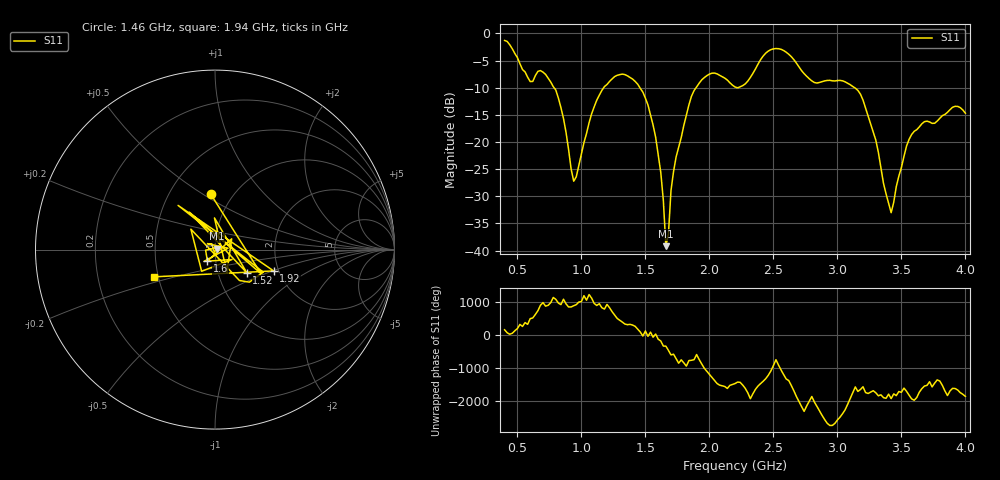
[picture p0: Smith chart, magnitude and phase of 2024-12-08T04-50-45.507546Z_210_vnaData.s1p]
!Created with skrf (http://scikit-rf.org).
# Hz S RI R 50.0
!freq ReS11 ImS11
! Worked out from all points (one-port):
!   181 points, 400 MHz to 4 GHz, reference 50 ohm
!   lowest |S11| = -39.2 dB at 1.66 GHz (marker M1), VSWR 1.02, Z = 51 + j0.484 ohm
!   |S11| at or under -10 dB: 786.1 MHz to 1.174 GHz (388.3 MHz wide, 39.6 % of centre); 1.457 GHz to 1.896 GHz (439.8 MHz wide, 26.2 % of centre); 3.134 GHz to end of sweep (the widest 3 of 4)
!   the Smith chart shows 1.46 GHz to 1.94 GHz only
!   S11 on the Smith chart (normalised r, x): 1.46 GHz: 0.79, +0.54; 1.52 GHz: 1.37, -0.37; 1.6 GHz: 0.91, -0.12; 1.92 GHz: 1.88, -0.51; 1.94 GHz: 0.47, -0.17
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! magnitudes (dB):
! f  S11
! 400 MHz  -1.3
! 600 MHz  -8.9
! 720 MHz  -7.6
! 860 MHz  -15.7
! 940 MHz  -27.2
! 1.12 GHz  -12.3
! 1.3 GHz  -7.6
! 1.46 GHz  -10.1
! 1.52 GHz  -13.2
! 1.6 GHz  -22.3
! 1.64 GHz  -30.7
! 1.66 GHz  -39.2
! 1.68 GHz  -36.9
! 1.7 GHz  -28.9
! 1.76 GHz  -21.0
! 1.92 GHz  -9.2
! 1.94 GHz  -8.6
! 2.2 GHz  -9.9
! 2.48 GHz  -3.0
! 2.66 GHz  -4.8
! 2.82 GHz  -9.0
! 3.1 GHz  -9.5
! 3.18 GHz  -11.2
! 3.28 GHz  -18.1
! 3.42 GHz  -33.0
! 3.56 GHz  -19.5
! 3.9 GHz  -13.6
! 4 GHz  -14.7
